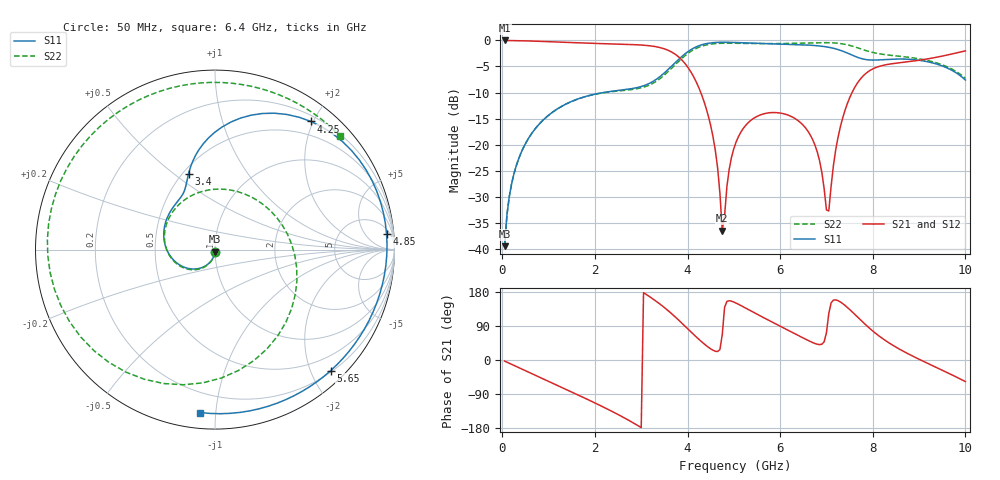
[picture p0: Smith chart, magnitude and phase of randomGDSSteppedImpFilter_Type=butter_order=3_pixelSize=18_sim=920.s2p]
! freq	dB(S11)	phase(S11)	dB(S12)	phase(S12)
!  dB(S21)	phase(S21)	dB(S22)	phase(S22)
!S-par simulation data
#  GHz  S  DB  R 50
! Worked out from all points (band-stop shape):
!   200 points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, 50 MHz to 10 GHz, reference 50 ohm
!   highest |S21| = 0.00 dB at 50 MHz (marker M1); lowest = -36.5 dB at 4.75 GHz (marker M2)
!   |S21| within 3 dB of the highest: start of sweep to 3.786 GHz; 9.501 GHz to end of sweep
!   lowest |S11| = -39.5 dB at 50 MHz (marker M3), VSWR 1.02, Z = 49.9 - j1.06 ohm
!   |S11| at or under -10 dB: start of sweep to 2.181 GHz
!   |S22| runs from -39.5 to -0.4 dB; largest |S21 - S12| = 0
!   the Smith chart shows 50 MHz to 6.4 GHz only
!   S11 on the Smith chart (normalised r, x): 50 MHz: 1.00, -0.02; 3.4 GHz: 0.53, +0.57; 4.25 GHz: 0.28, +1.96; 4.85 GHz: 9, +19; 5.65 GHz: 0.22, -2.32; 6.4 GHz: 0.08, -0.91
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0.05  -39.48 -92.4  -0.00 -2.9  -0.00 -2.9  -39.46 -92.1
0.2  -27.56 -101.6  -0.03 -11.4  -0.03 -11.4  -27.56 -101.0
0.5  -19.81 -119.5  -0.08 -28.3  -0.08 -28.3  -19.81 -118.0
1.75  -10.88 171.0  -0.49 -98.8  -0.49 -98.8  -10.90 169.9
2.75  -9.32 126.4  -0.77 -160.5  -0.77 -160.5  -9.48 91.2
3.4  -6.97 109.2  -1.36 148.0  -1.36 148.0  -7.37 3.9
3.8  -3.70 90.2  -3.10 106.3  -3.10 106.3  -4.08 -62.5
4.25  -1.00 53.3  -9.20 54.0  -9.20 54.0  -1.28 -133.2
4.6  -0.39 23.8  -21.09 23.1  -21.09 23.1  -0.61 -177.9
4.75  -0.35 12.4  -36.51 67.3  -36.51 67.3  -0.54 166.0
4.85  -0.36 5.1  -28.05 154.5  -28.05 154.5  -0.53 156.0
5.05  -0.41 -8.6  -19.47 150.1  -19.47 150.1  -0.54 137.7
5.65  -0.61 -46.3  -14.08 111.3  -14.08 111.3  -0.61 91.2
6.4  -0.80 -95.2  -15.48 64.1  -15.48 64.1  -0.53 42.1
6.7  -0.94 -119.5  -19.00 46.1  -19.00 46.1  -0.46 23.7
7.05  -1.31 -156.5  -32.73 122.5  -32.73 122.5  -0.44 2.3
7.25  -1.75 175.2  -18.57 156.6  -18.57 156.6  -0.54 -10.2
7.65  -3.17 98.2  -8.43 115.9  -8.43 115.9  -1.35 -33.6
8  -3.77 25.9  -5.46 76.5  -5.46 76.5  -2.31 -48.3
8.35  -3.62 -26.1  -4.56 45.2  -4.56 45.2  -2.82 -60.5
9.05  -3.87 -88.5  -3.74 -1.0  -3.74 -1.0  -3.60 -87.3
10  -7.60 -152.5  -2.01 -57.0  -2.01 -57.0  -7.26 -127.3
